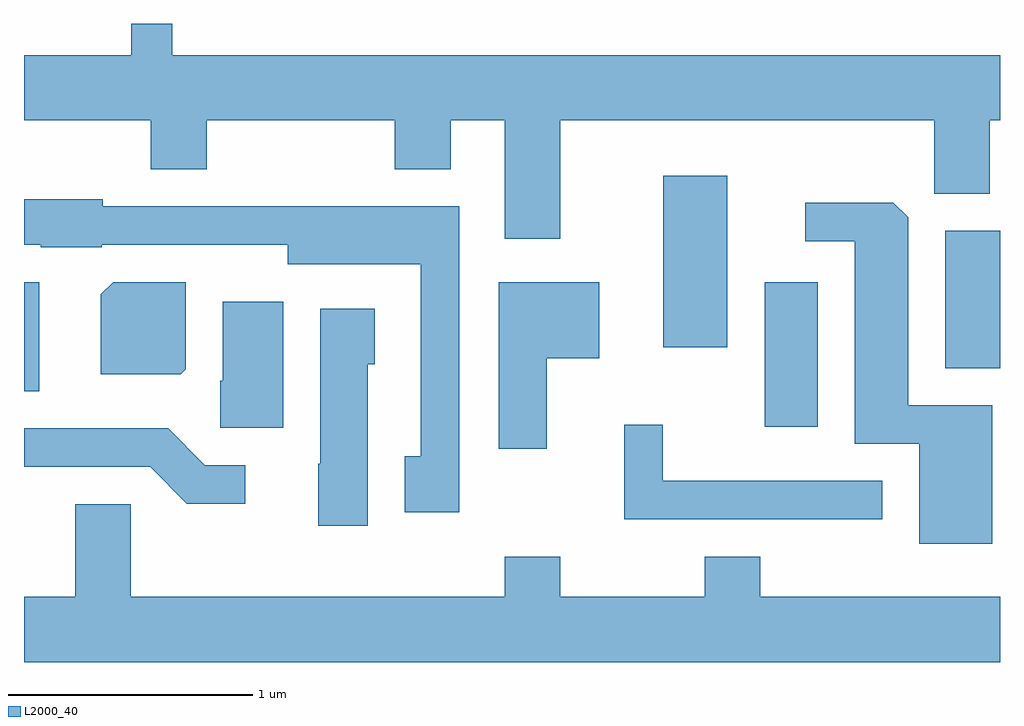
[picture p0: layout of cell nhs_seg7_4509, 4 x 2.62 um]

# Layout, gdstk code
import gdstk
lib = gdstk.Library(unit=1e-6, precision=1e-09)
def R(c, l, rs):  # rectangles x0, y0, x1, y1
    for r in rs: c.add(gdstk.rectangle(r[:2], r[2:], *l))
def P(c, l, *ps):  # polygons
    for p in ps: c.add(gdstk.Polygon(p, *l))
L2000_40 = (2000, 40)

nhs_seg7_4509 = lib.new_cell('nhs_seg7_4509')
R(nhs_seg7_4509, L2000_40, [(326.646,1728.601,326.864,1729.194), (323.611,1728.746,323.674,1729.194), (327.386,1728.841,327.611,1729.404), (326.231,1728.926,326.494,1729.629)])
P(nhs_seg7_4509, L2000_40, [(325.809,1729.856),(327.341,1729.856),(327.341,1729.556),(327.569,1729.556),(327.569,1729.856),(327.611,1729.856),(327.611,1730.124),(324.219,1730.124),(324.219,1730.252),(324.051,1730.252),(324.051,1730.124),(323.611,1730.124),(323.611,1729.856),(324.131,1729.856),(324.131,1729.656),(324.359,1729.656),(324.359,1729.856),(325.131,1729.856),(325.131,1729.656),(325.359,1729.656),(325.359,1729.856),(325.581,1729.856),(325.581,1729.371),(325.809,1729.371)],
  [(325.394,1729.504),(323.934,1729.504),(323.934,1729.534),(323.611,1729.534),(323.611,1729.346),(323.68,1729.346),(323.68,1729.336),(323.93,1729.336),(323.93,1729.346),(324.691,1729.346),(324.691,1729.266),(325.236,1729.266),(325.236,1728.479),(325.171,1728.479),(325.171,1728.251),(325.394,1728.251)],
  [(327.579,1728.689),(327.234,1728.689),(327.234,1729.459),(327.174,1729.519),(326.813,1729.519),(326.813,1729.361),(327.016,1729.361),(327.016,1728.531),(327.281,1728.531),(327.281,1728.121),(327.579,1728.121)],
  [(324.274,1728.837),(324.274,1729.194),(323.977,1729.194),(323.926,1729.144),(323.926,1728.816),(324.254,1728.816)],
  [(325.754,1728.881),(325.969,1728.881),(325.969,1729.194),(325.556,1729.194),(325.556,1728.511),(325.754,1728.511)],
  [(324.674,1729.114),(324.426,1729.114),(324.426,1728.79),(324.416,1728.79),(324.416,1728.596),(324.674,1728.596)],
  [(325.019,1728.856),(325.049,1728.856),(325.049,1729.084),(324.826,1729.084),(324.826,1728.45),(324.816,1728.45),(324.816,1728.196),(325.019,1728.196)],
  [(327.128,1728.379),(326.229,1728.379),(326.229,1728.608),(326.071,1728.608),(326.071,1728.221),(327.128,1728.221)],
  [(324.518,1728.444),(324.352,1728.444),(324.202,1728.594),(323.611,1728.594),(323.611,1728.436),(324.129,1728.436),(324.279,1728.286),(324.518,1728.286)],
  [(327.611,1727.904),(326.629,1727.904),(326.629,1728.069),(326.401,1728.069),(326.401,1727.904),(325.809,1727.904),(325.809,1728.069),(325.581,1728.069),(325.581,1727.904),(324.049,1727.904),(324.049,1728.284),(323.821,1728.284),(323.821,1727.904),(323.611,1727.904),(323.611,1727.636),(327.611,1727.636)])

lib.write_gds('nhs_seg7_4509.gds')
